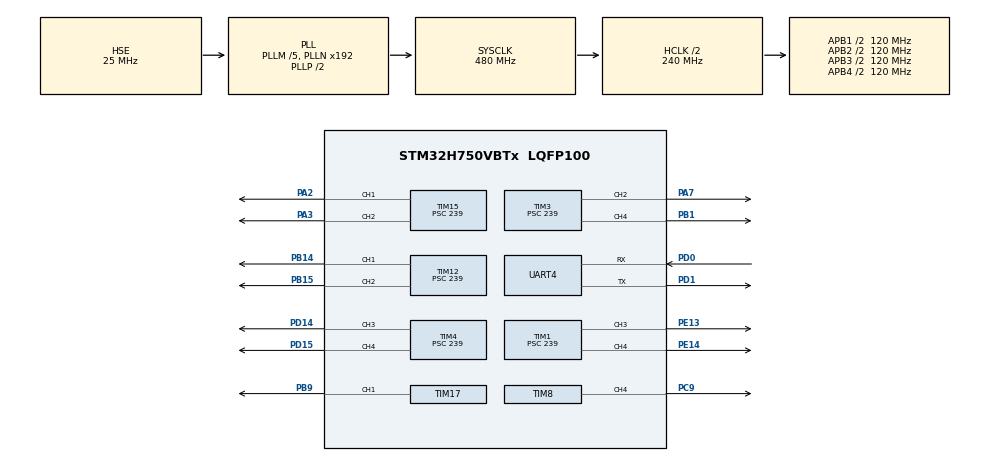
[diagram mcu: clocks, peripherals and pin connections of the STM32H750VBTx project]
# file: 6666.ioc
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Dma.Request0=UART4_RX
Dma.Request1=UART4_TX
Dma.UART4_RX.0.Direction=DMA_PERIPH_TO_MEMORY
Dma.UART4_RX.0.EventEnable=DISABLE
Dma.UART4_RX.0.FIFOMode=DMA_FIFOMODE_DISABLE
Dma.UART4_RX.0.Instance=DMA1_Stream1
Dma.UART4_RX.0.MemDataAlignment=DMA_MDATAALIGN_BYTE
Dma.UART4_RX.0.MemInc=DMA_MINC_ENABLE
Dma.UART4_RX.0.Mode=DMA_CIRCULAR
Dma.UART4_RX.0.PeriphDataAlignment=DMA_PDATAALIGN_BYTE
Dma.UART4_RX.0.PeriphInc=DMA_PINC_DISABLE
Dma.UART4_RX.0.Polarity=HAL_DMAMUX_REQ_GEN_RISING
Dma.UART4_RX.0.Priority=DMA_PRIORITY_LOW
Dma.UART4_RX.0.RequestNumber=1
Dma.UART4_RX.0.SignalID=NONE
Dma.UART4_RX.0.SyncEnable=DISABLE
Dma.UART4_RX.0.SyncPolarity=HAL_DMAMUX_SYNC_NO_EVENT
Dma.UART4_RX.0.SyncRequestNumber=1
Dma.UART4_RX.0.SyncSignalID=NONE
Dma.UART4_TX.1.Direction=DMA_MEMORY_TO_PERIPH
Dma.UART4_TX.1.EventEnable=DISABLE
Dma.UART4_TX.1.FIFOMode=DMA_FIFOMODE_DISABLE
Dma.UART4_TX.1.Instance=DMA2_Stream7
Dma.UART4_TX.1.MemDataAlignment=DMA_MDATAALIGN_BYTE
Dma.UART4_TX.1.MemInc=DMA_MINC_ENABLE
Dma.UART4_TX.1.Mode=DMA_NORMAL
Dma.UART4_TX.1.PeriphDataAlignment=DMA_PDATAALIGN_BYTE
Dma.UART4_TX.1.PeriphInc=DMA_PINC_DISABLE
Dma.UART4_TX.1.Polarity=HAL_DMAMUX_REQ_GEN_RISING
Dma.UART4_TX.1.Priority=DMA_PRIORITY_LOW
Dma.UART4_TX.1.RequestNumber=1
Dma.UART4_TX.1.SignalID=NONE
Dma.UART4_TX.1.SyncEnable=DISABLE
Dma.UART4_TX.1.SyncPolarity=HAL_DMAMUX_SYNC_NO_EVENT
Dma.UART4_TX.1.SyncRequestNumber=1
Dma.UART4_TX.1.SyncSignalID=NONE
Mcu.Family=STM32H7
Mcu.Name=STM32H750VBTx
Mcu.Package=LQFP100
NVIC.DMA1_Stream1_IRQn=true\:0\:0\:false\:false\:true\:false\:true
NVIC.DMA2_Stream7_IRQn=true\:0\:0\:false\:false\:true\:false\:true
NVIC.PriorityGroup=NVIC_PRIORITYGROUP_4
PA2.Signal=S_TIM15_CH1
PA3.Signal=S_TIM15_CH2
PA7.Signal=S_TIM3_CH2
PB1.Signal=S_TIM3_CH4
PB14.Signal=S_TIM12_CH1
PB15.Signal=S_TIM12_CH2
PB9.Signal=S_TIM17_CH1
PC9.Signal=S_TIM8_CH4
PD0.Mode=Asynchronous
PD0.Signal=UART4_RX
PD1.Mode=Asynchronous
PD1.Signal=UART4_TX
PD14.Signal=S_TIM4_CH3
PD15.Signal=S_TIM4_CH4
PE13.Signal=S_TIM1_CH3
PE14.Signal=S_TIM1_CH4
PH0-OSC_IN\ (PH0).Mode=HSE-External-Oscillator
PH0-OSC_IN\ (PH0).Signal=RCC_OSC_IN
PH1-OSC_OUT\ (PH1).Mode=HSE-External-Oscillator
PH1-OSC_OUT\ (PH1).Signal=RCC_OSC_OUT
ProjectManager.HeapSize=0x200
ProjectManager.StackSize=0x400
ProjectManager.TargetToolchain=MDK-ARM V5.32
RCC.ADCFreq_Value=50390625
RCC.APB1Freq_Value=120000000
RCC.APB2Freq_Value=120000000
RCC.APB3Freq_Value=120000000
RCC.APB4Freq_Value=120000000
RCC.CortexFreq_Value=480000000
RCC.D1PPRE=RCC_APB3_DIV2
RCC.D2PPRE1=RCC_APB1_DIV2
RCC.D2PPRE2=RCC_APB2_DIV2
RCC.D3PPRE=RCC_APB4_DIV2
RCC.DIVM1=5
RCC.DIVN1=192
RCC.HCLKFreq_Value=240000000
RCC.HPRE=RCC_HCLK_DIV2
RCC.PLLSourceVirtual=RCC_PLLSOURCE_HSE
RCC.RCC_TIM_PRescaler_Selection=RCC_TIMPRES_ACTIVATED
RCC.SYSCLKFreq_VALUE=480000000
RCC.SYSCLKSource=RCC_SYSCLKSOURCE_PLLCLK
RCC.USBFreq_Value=480000000
SH.S_TIM12_CH1.0=TIM12_CH1,PWM Generation1 CH1
SH.S_TIM12_CH2.0=TIM12_CH2,PWM Generation2 CH2
SH.S_TIM15_CH1.0=TIM15_CH1,PWM Generation1 CH1
SH.S_TIM15_CH2.0=TIM15_CH2,PWM Generation2 CH2
SH.S_TIM17_CH1.0=TIM17_CH1,PWM Generation1 CH1
SH.S_TIM1_CH3.0=TIM1_CH3,PWM Generation3 CH3
SH.S_TIM1_CH4.0=TIM1_CH4,PWM Generation4 CH4
SH.S_TIM3_CH2.0=TIM3_CH2,PWM Generation2 CH2
SH.S_TIM3_CH4.0=TIM3_CH4,PWM Generation4 CH4
SH.S_TIM4_CH3.0=TIM4_CH3,PWM Generation3 CH3
SH.S_TIM4_CH4.0=TIM4_CH4,PWM Generation4 CH4
SH.S_TIM8_CH4.0=TIM8_CH4,PWM Generation4 CH4
TIM1.Channel-PWM\ Generation3\ CH3=TIM_CHANNEL_3
TIM1.Channel-PWM\ Generation4\ CH4=TIM_CHANNEL_4
TIM1.Period=19999
TIM1.Prescaler=239
TIM12.Channel-PWM\ Generation1\ CH1=TIM_CHANNEL_1
TIM12.Channel-PWM\ Generation2\ CH2=TIM_CHANNEL_2
TIM12.Period=9999
TIM12.Prescaler=239
TIM12.Pulse-PWM\ Generation1\ CH1=0
TIM12.Pulse-PWM\ Generation2\ CH2=0
TIM15.Channel-PWM\ Generation1\ CH1=TIM_CHANNEL_1
TIM15.Channel-PWM\ Generation2\ CH2=TIM_CHANNEL_2
TIM15.Period=9999
TIM15.Prescaler=239
TIM15.Pulse-PWM\ Generation1\ CH1=0
TIM15.Pulse-PWM\ Generation2\ CH2=0
TIM17.Channel=TIM_CHANNEL_1
TIM17.Period=9999
TIM17.Prescaler=239
TIM17.Pulse=0
TIM3.Channel-PWM\ Generation2\ CH2=TIM_CHANNEL_2
TIM3.Channel-PWM\ Generation4\ CH4=TIM_CHANNEL_4
TIM3.OCFastMode_PWM-PWM\ Generation4\ CH4=TIM_OCFAST_DISABLE
TIM3.Period=9999
TIM3.Prescaler=239
TIM3.Pulse-PWM\ Generation2\ CH2=0
TIM3.Pulse-PWM\ Generation4\ CH4=0
TIM4.Channel-PWM\ Generation3\ CH3=TIM_CHANNEL_3
TIM4.Channel-PWM\ Generation4\ CH4=TIM_CHANNEL_4
TIM4.Period=19999
TIM4.Prescaler=239
TIM8.Channel-PWM\ Generation4\ CH4=TIM_CHANNEL_4
TIM8.Period=9999
TIM8.Prescaler=239
TIM8.Pulse-PWM\ Generation4\ CH4=0
VP_TIM12_VS_ClockSourceINT.Mode=Internal
VP_TIM15_VS_ClockSourceINT.Mode=Internal
VP_TIM17_VS_ClockSourceINT.Mode=Enable_Timer
VP_TIM1_VS_ClockSourceINT.Mode=Internal
VP_TIM3_VS_ClockSourceINT.Mode=Internal
VP_TIM4_VS_ClockSourceINT.Mode=Internal
VP_TIM8_VS_ClockSourceINT.Mode=Internal
board=custom

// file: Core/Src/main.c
/* USER CODE BEGIN Header */
/**
  ******************************************************************************
  * @file           : main.c
  * @brief          : Main program body
  ******************************************************************************
  * @attention
  *
  * <h2><center>&copy; Copyright (c) 2021 STMicroelectronics.
  * All rights reserved.</center></h2>
  *
  * This software component is licensed by ST under BSD 3-Clause license,
  * the "License"; You may not use this file except in compliance with the
  * License. You may obtain a copy of the License at:
  *                        opensource.org/licenses/BSD-3-Clause
  *
  ******************************************************************************
  */
/* USER CODE END Header */
#include "main.h"
#include "dma.h"
#include "tim.h"
#include "usart.h"
#include "gpio.h"

/* USER CODE BEGIN Includes */
#include "ble_remote.h"
#include <stdio.h>
/* USER CODE END Includes */

/* USER CODE BEGIN PV */
uint8_t data[11];
uint8_t chassis_xyz[8];
int16_t chassis[4];
int16_t xyz[3];
/* USER CODE END PV */

void SystemClock_Config(void);
void PeriphCommonClock_Config(void);
/* USER CODE BEGIN PFP */
/*底盘麦轮速度初始化*/
uint8_t kp=20;
int PWMA_1=0,PWMA_2=0;
int PWMB_1=0,PWMB_2=0;
int PWMC_1=0,PWMC_2=0;
int PWMD_1=0,PWMD_2=0;
/* USER CODE END PFP */

/* USER CODE BEGIN 0 */
/*舵机角度初始化*/
int angle_pwm1=1000;  /*45°*/
int angle_pwm2=1500;
int angle_pwm3=1800;/*
p*/
int angle_pwm4=2500; /*180°*/

/* USER CODE END 0 */

int main(void)
{
  /* USER CODE BEGIN 1 */
const remote_t *r=get_remote_control_point();
for(int i=0;i<4;i++)
	{
		chassis[i]=0;

	}
  /* USER CODE END 1 */

  /* MCU Configuration--------------------------------------------------------*/

  /* Reset of all peripherals, Initializes the Flash interface and the Systick. */
  HAL_Init();

  /* Configure the system clock */
  SystemClock_Config();

/* Configure the peripherals common clocks */
  PeriphCommonClock_Config();

  /* Initialize all configured peripherals */
  MX_GPIO_Init();
  MX_TIM3_Init();
  MX_TIM8_Init();
  MX_TIM12_Init();
  MX_TIM15_Init();
  MX_DMA_Init();
  MX_UART4_Init();
  MX_TIM17_Init();
  MX_TIM1_Init();
  MX_TIM4_Init();
  /* USER CODE BEGIN 2 */

	HAL_UART_Receive_DMA(&huart4,data,11);

/*开底盘PWM*/
  HAL_TIM_Base_Start(&htim3);
  HAL_TIM_PWM_Start(&htim3,TIM_CHANNEL_2);
  HAL_TIM_PWM_Start(&htim3,TIM_CHANNEL_4);
  HAL_TIM_Base_Start(&htim8);
  HAL_TIM_PWM_Start(&htim8,TIM_CHANNEL_4);
  HAL_TIM_Base_Start(&htim12);
	HAL_TIM_PWM_Start(&htim12,TIM_CHANNEL_1);
  HAL_TIM_PWM_Start(&htim12,TIM_CHANNEL_2);
  HAL_TIM_Base_Start(&htim15);
	HAL_TIM_PWM_Start(&htim15,TIM_CHANNEL_1);
	HAL_TIM_PWM_Start(&htim15,TIM_CHANNEL_2);
  HAL_TIM_Base_Start(&htim17);
  HAL_TIM_PWM_Start(&htim17,TIM_CHANNEL_1);

/*开舵机PWM*/
  HAL_TIM_Base_Start(&htim1);
  HAL_TIM_PWM_Start(&htim1,TIM_CHANNEL_3);

	  HAL_TIM_Base_Start(&htim1);
  HAL_TIM_PWM_Start(&htim1,TIM_CHANNEL_4);

	  HAL_TIM_Base_Start(&htim4);
  HAL_TIM_PWM_Start(&htim4,TIM_CHANNEL_3);

	  HAL_TIM_Base_Start(&htim4);
  HAL_TIM_PWM_Start(&htim4,TIM_CHANNEL_4);

  /* USER CODE END 2 */

  /* Infinite loop */
 while (1)
  {

    /* USER CODE BEGIN 3 */
		/********* 将每个数字处理求和 *********/

	  xyz[0]=r->rocker[0].y_position;/*X*/
	  xyz[1]=r->rocker[0].x_position;/*Y*/
    xyz[2]=r->rocker[1].x_position;/*Z*/
   /*********四个电机的速度计算 *********/
    chassis[0]=xyz[0]+xyz[1]+xyz[2];
    chassis[1]=xyz[0]-xyz[1]+xyz[2];
    chassis[2]=-xyz[0]+xyz[1]+xyz[2];
    chassis[3]=-xyz[0]-xyz[1]+xyz[2];
		 /*********PWM输出赋值*********/
		if(r->Switch[3]==0) kp=10;
		if(r->Switch[3]==1) kp=50;

    if(chassis[0]>0)    PWMA_1=kp*chassis[0], PWMA_2=0;
    else                PWMA_1=0, PWMA_2=-kp*chassis[0];
    if(chassis[1]>0)    PWMB_1=kp*chassis[1], PWMB_2=0;
    else                PWMB_1=0, PWMB_2=-kp*chassis[1];
    if(chassis[2]>0)    PWMC_1=kp*chassis[2], PWMC_2=0;
    else                PWMC_1=0, PWMC_2=-kp*chassis[2];
    if(chassis[3]>0)    PWMD_1=kp*chassis[3], PWMD_2=0;
    else                PWMD_1=0, PWMD_2=-kp*chassis[3];
     /********* PWM输出 *********/
    __HAL_TIM_SetCompare(&htim3,TIM_CHANNEL_4,PWMA_1);/* M1+ */
    __HAL_TIM_SetCompare(&htim3,TIM_CHANNEL_2,PWMA_2);/* M1- */
    __HAL_TIM_SetCompare(&htim15,TIM_CHANNEL_2,PWMB_1);/* M2+ */
    __HAL_TIM_SetCompare(&htim8,TIM_CHANNEL_4,PWMB_2);/* M2- */
    __HAL_TIM_SetCompare(&htim12,TIM_CHANNEL_1,PWMC_2);/* M3+ */
    __HAL_TIM_SetCompare(&htim12,TIM_CHANNEL_2,PWMC_1);/* M3- */
    __HAL_TIM_SetCompare(&htim15,TIM_CHANNEL_1,PWMD_2);/* M4+ */
    __HAL_TIM_SetCompare(&htim17,TIM_CHANNEL_1,PWMD_1);/* M4- */

		/*舵机1：由Button1、2按键控制角度加减*/
		if(r->Button[0]==1&&angle_pwm1>=500)
		{
		 angle_pwm1=angle_pwm1-25;
			__HAL_TIM_SetCompare(&htim1,TIM_CHANNEL_3,angle_pwm1);
		}

		else if(r->Button[1]==1&&angle_pwm1<=2500)
		{
			angle_pwm1=angle_pwm1+25;
			__HAL_TIM_SetCompare(&htim1,TIM_CHANNEL_3,angle_pwm1);

		}

		HAL_Delay(10);
		/*舵机2：由Button3、4按键控制角度加减*/
			if(r->Button[2]==1&&angle_pwm2>=500)
		{
		 angle_pwm2=angle_pwm2-50;
			__HAL_TIM_SetCompare(&htim4,TIM_CHANNEL_3,angle_pwm2);
		}

		else if(r->Button[3]==1&&angle_pwm2<=1800)
		{
			angle_pwm2=angle_pwm2+50;
			__HAL_TIM_SetCompare(&htim4,TIM_CHANNEL_3,angle_pwm2);

		}

		HAL_Delay(10);

		/*舵机3：由Switch1、2按键控制角度加减*/
			if(r->Switch[0]==1&&angle_pwm3>=500)
		{
		 angle_pwm3=angle_pwm3-40;
			__HAL_TIM_SetCompare(&htim1,TIM_CHANNEL_4,angle_pwm3);
		}

		else if(r->Switch[1]==1&&angle_pwm3<=2500)
		{
			angle_pwm3=angle_pwm3+40;
			__HAL_TIM_SetCompare(&htim1,TIM_CHANNEL_4,angle_pwm3);

		}
		HAL_Delay(10);

		/*舵机4：由Switch3、4按键控制角度加减*/
			if(r->Switch[2]==1&&angle_pwm4>=1500)
		{
		 angle_pwm4=angle_pwm4-50;
			__HAL_TIM_SetCompare(&htim4,TIM_CHANNEL_4,angle_pwm4);
		}

		else if(r->Switch[2]==0&&angle_pwm4<=2500)
		{
			angle_pwm4=angle_pwm4+50;
			__HAL_TIM_SetCompare(&htim4,TIM_CHANNEL_4,angle_pwm4);

		}

	  HAL_Delay(30);
	}

  /* USER CODE END 3 */
}

void SystemClock_Config(void)
{
  RCC_OscInitTypeDef RCC_OscInitStruct = {0};
  RCC_ClkInitTypeDef RCC_ClkInitStruct = {0};

  /** Supply configuration update enable
  */
  HAL_PWREx_ConfigSupply(PWR_LDO_SUPPLY);
  /** Configure the main internal regulator output voltage
  */
  __HAL_PWR_VOLTAGESCALING_CONFIG(PWR_REGULATOR_VOLTAGE_SCALE0);

  while(!__HAL_PWR_GET_FLAG(PWR_FLAG_VOSRDY)) {}
  /** Initializes the RCC Oscillators according to the specified parameters
  * in the RCC_OscInitTypeDef structure.
  */
  RCC_OscInitStruct.OscillatorType = RCC_OSCILLATORTYPE_HSE;
  RCC_OscInitStruct.HSEState = RCC_HSE_ON;
  RCC_OscInitStruct.PLL.PLLState = RCC_PLL_ON;
  RCC_OscInitStruct.PLL.PLLSource = RCC_PLLSOURCE_HSE;
  RCC_OscInitStruct.PLL.PLLM = 5;
  RCC_OscInitStruct.PLL.PLLN = 192;
  RCC_OscInitStruct.PLL.PLLP = 2;
  RCC_OscInitStruct.PLL.PLLQ = 2;
  RCC_OscInitStruct.PLL.PLLR = 2;
  RCC_OscInitStruct.PLL.PLLRGE = RCC_PLL1VCIRANGE_2;
  RCC_OscInitStruct.PLL.PLLVCOSEL = RCC_PLL1VCOWIDE;
  RCC_OscInitStruct.PLL.PLLFRACN = 0;
  if (HAL_RCC_OscConfig(&RCC_OscInitStruct) != HAL_OK)
  {
    Error_Handler();
  }
  /** Initializes the CPU, AHB and APB buses clocks
  */
  RCC_ClkInitStruct.ClockType = RCC_CLOCKTYPE_HCLK|RCC_CLOCKTYPE_SYSCLK
                              |RCC_CLOCKTYPE_PCLK1|RCC_CLOCKTYPE_PCLK2
                              |RCC_CLOCKTYPE_D3PCLK1|RCC_CLOCKTYPE_D1PCLK1;
  RCC_ClkInitStruct.SYSCLKSource = RCC_SYSCLKSOURCE_PLLCLK;
  RCC_ClkInitStruct.SYSCLKDivider = RCC_SYSCLK_DIV1;
  RCC_ClkInitStruct.AHBCLKDivider = RCC_HCLK_DIV2;
  RCC_ClkInitStruct.APB3CLKDivider = RCC_APB3_DIV2;
  RCC_ClkInitStruct.APB1CLKDivider = RCC_APB1_DIV2;
  RCC_ClkInitStruct.APB2CLKDivider = RCC_APB2_DIV2;
  RCC_ClkInitStruct.APB4CLKDivider = RCC_APB4_DIV2;

  if (HAL_RCC_ClockConfig(&RCC_ClkInitStruct, FLASH_LATENCY_4) != HAL_OK)
  {
    Error_Handler();
  }
}

void PeriphCommonClock_Config(void)
{
  RCC_PeriphCLKInitTypeDef PeriphClkInitStruct = {0};

  /** Initializes the peripherals clock
  */
  PeriphClkInitStruct.PeriphClockSelection = RCC_PERIPHCLK_TIM;
  PeriphClkInitStruct.TIMPresSelection = RCC_TIMPRES_ACTIVATED;

  if (HAL_RCCEx_PeriphCLKConfig(&PeriphClkInitStruct) != HAL_OK)
  {
    Error_Handler();
  }
}

/* USER CODE BEGIN 4 */
void HAL_UART_RxCpltCallback(UART_HandleTypeDef *huart)
{
	if(huart->Instance==UART4)
	{
		uart_to_remote(data);
	}
}
/* USER CODE END 4 */

void Error_Handler(void)
{
  __disable_irq();
  while (1)
  {
  }
}

/************************ (C) COPYRIGHT STMicroelectronics *****END OF FILE****/
